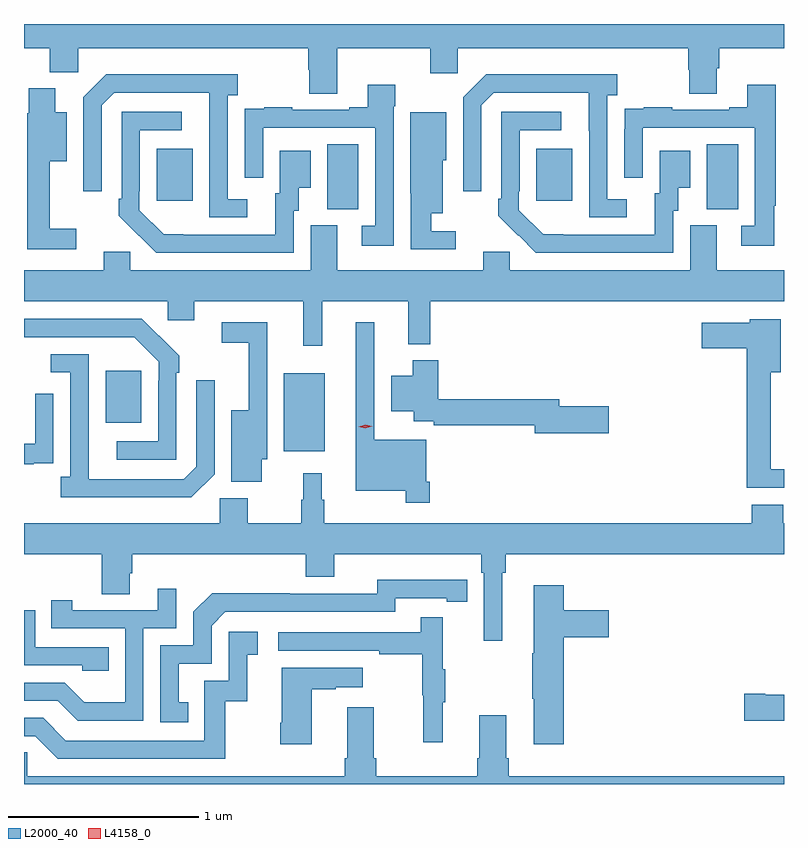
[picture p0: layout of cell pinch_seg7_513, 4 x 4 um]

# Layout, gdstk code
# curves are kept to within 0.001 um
import gdstk
lib = gdstk.Library(unit=1e-6, precision=1e-09)
def R(c, l, rs):  # rectangles x0, y0, x1, y1
    for r in rs: c.add(gdstk.rectangle(r[:2], r[2:], *l))
def P(c, l, *ps):  # polygons
    for p in ps: c.add(gdstk.Polygon(p, *l))
L2000_40 = (2000, 40)
L4158_0 = (4158, 0)

pinch_seg7_513 = lib.new_cell('pinch_seg7_513')
R(pinch_seg7_513, L2000_40, [(158.03,1063.763,158.245,1064.173), (157.091,1063.913,157.279,1064.188), (158.258,1065.037,158.422,1065.38), (160.256,1065.037,160.42,1065.38), (157.361,1065.081,157.549,1065.355), (159.359,1065.081,159.547,1065.355)])
P(pinch_seg7_513, L2000_40, [(158.311,1065.884),(158.8,1065.884),(158.8,1065.753),(158.946,1065.753),(158.946,1065.884),(160.157,1065.884),(160.157,1065.771),(160.162,1065.771),(160.162,1065.646),(160.309,1065.646),(160.309,1065.778),(160.322,1065.778),(160.322,1065.884),(160.662,1065.884),(160.662,1066.012),(156.662,1066.012),(156.662,1065.884),(156.797,1065.884),(156.797,1065.758),(156.948,1065.758),(156.948,1065.884),(158.159,1065.884),(158.159,1065.771),(158.164,1065.771),(158.164,1065.646),(158.311,1065.646)],
  [(159.835,1065.09),(159.732,1065.09),(159.732,1065.638),(159.784,1065.638),(159.784,1065.748),(159.094,1065.748),(158.973,1065.627),(158.973,1065.132),(159.069,1065.132),(159.069,1065.585),(159.135,1065.651),(159.635,1065.651),(159.636,1064.994),(159.835,1064.994)],
  [(157.837,1065.09),(157.734,1065.09),(157.734,1065.638),(157.786,1065.638),(157.786,1065.748),(157.096,1065.748),(156.975,1065.627),(156.975,1065.132),(157.071,1065.132),(157.071,1065.585),(157.137,1065.651),(157.637,1065.651),(157.638,1064.994),(157.837,1064.994)],
  [(160.61,1065.056),(160.618,1065.056),(160.618,1065.691),(160.469,1065.691),(160.469,1065.574),(160.373,1065.574),(160.373,1065.561),(160.073,1065.561),(160.073,1065.574),(159.925,1065.574),(159.925,1065.567),(159.823,1065.567),(159.823,1065.458),(159.822,1065.458),(159.822,1065.204),(159.918,1065.204),(159.918,1065.465),(160.509,1065.465),(160.509,1064.949),(160.437,1064.949),(160.437,1064.844),(160.61,1064.844)],
  [(158.607,1065.578),(158.616,1065.578),(158.616,1065.691),(158.471,1065.691),(158.471,1065.574),(158.375,1065.574),(158.375,1065.561),(158.075,1065.561),(158.075,1065.574),(157.927,1065.574),(157.927,1065.567),(157.825,1065.567),(157.825,1065.458),(157.824,1065.458),(157.824,1065.204),(157.92,1065.204),(157.92,1065.465),(158.511,1065.465),(158.511,1064.949),(158.439,1064.949),(158.439,1064.844),(158.607,1064.844)],
  [(156.937,1064.935),(156.797,1064.935),(156.797,1065.29),(156.886,1065.29),(156.886,1065.547),(156.826,1065.547),(156.826,1065.673),(156.686,1065.673),(156.686,1065.543),(156.679,1065.543),(156.679,1064.826),(156.937,1064.826)],
  [(158.082,1065.03),(158.107,1065.03),(158.107,1065.149),(158.17,1065.149),(158.17,1065.346),(158.009,1065.346),(158.009,1065.12),(157.985,1065.12),(157.985,1064.904),(157.398,1064.905),(157.269,1065.033),(157.269,1065.133),(157.272,1065.133),(157.272,1065.453),(157.492,1065.453),(157.492,1065.549),(157.176,1065.549),(157.176,1065.091),(157.161,1065.091),(157.161,1065.003),(157.358,1064.808),(158.082,1064.808)],
  [(160.08,1065.03),(160.105,1065.03),(160.105,1065.149),(160.168,1065.149),(160.168,1065.346),(160.007,1065.346),(160.007,1065.12),(159.983,1065.12),(159.983,1064.904),(159.396,1064.905),(159.267,1065.033),(159.267,1065.133),(159.27,1065.133),(159.27,1065.453),(159.49,1065.453),(159.49,1065.549),(159.174,1065.549),(159.174,1065.091),(159.159,1065.091),(159.159,1065.003),(159.356,1064.808),(160.08,1064.808)],
  [(158.935,1064.922),(158.806,1064.922),(158.806,1065.017),(158.866,1065.017),(158.866,1065.294),(158.884,1065.294),(158.884,1065.547),(158.696,1065.547),(158.696,1065.121),(158.697,1065.121),(158.697,1064.826),(158.935,1064.826)],
  [(158.231,1064.552),(158.684,1064.552),(158.684,1064.327),(158.801,1064.327),(158.801,1064.552),(160.662,1064.552),(160.662,1064.716),(160.309,1064.716),(160.309,1064.952),(160.169,1064.952),(160.169,1064.716),(159.219,1064.716),(159.219,1064.814),(159.08,1064.814),(159.08,1064.716),(158.311,1064.716),(158.311,1064.952),(158.171,1064.952),(158.171,1064.716),(157.221,1064.716),(157.221,1064.814),(157.082,1064.814),(157.082,1064.716),(156.662,1064.716),(156.662,1064.552),(157.419,1064.552),(157.419,1064.454),(157.558,1064.454),(157.558,1064.552),(158.132,1064.552),(158.132,1064.319),(158.231,1064.319)],
  [(157.464,1064.177),(157.479,1064.177),(157.479,1064.265),(157.282,1064.46),(156.662,1064.46),(156.662,1064.364),(157.243,1064.364),(157.371,1064.235),(157.371,1064.135),(157.368,1064.135),(157.368,1063.815),(157.149,1063.815),(157.149,1063.719),(157.464,1063.719)],
  [(160.662,1063.668),(160.591,1063.668),(160.591,1064.18),(160.645,1064.18),(160.645,1064.458),(160.482,1064.458),(160.482,1064.44),(160.23,1064.44),(160.23,1064.306),(160.466,1064.306),(160.466,1063.571),(160.662,1063.571)],
  [(158.798,1063.603),(158.778,1063.603),(158.778,1063.825),(158.505,1063.825),(158.505,1064.443),(158.408,1064.443),(158.408,1063.556),(158.67,1063.556),(158.67,1063.491),(158.798,1063.491)],
  [(157.912,1063.721),(157.941,1063.721),(157.941,1064.442),(157.704,1064.442),(157.704,1064.334),(157.844,1064.334),(157.844,1063.978),(157.754,1063.978),(157.754,1063.602),(157.912,1063.602)],
  [(157.665,1063.643),(157.665,1064.137),(157.569,1064.137),(157.569,1063.683),(157.503,1063.617),(157.003,1063.617),(157.002,1064.274),(156.804,1064.274),(156.804,1064.178),(156.906,1064.178),(156.906,1063.63),(156.855,1063.63),(156.855,1063.52),(157.542,1063.52)],
  [(159.739,1064),(159.478,1064),(159.478,1064.036),(158.843,1064.036),(158.843,1064.242),(158.708,1064.242),(158.708,1064.161),(158.594,1064.161),(158.594,1063.973),(158.714,1063.973),(158.714,1063.92),(158.818,1063.92),(158.818,1063.9),(159.35,1063.9),(159.35,1063.858),(159.739,1063.858)],
  [(156.713,1063.701),(156.815,1063.701),(156.815,1063.81),(156.816,1063.81),(156.816,1064.065),(156.72,1064.065),(156.72,1063.803),(156.662,1063.803),(156.662,1063.695),(156.713,1063.695)],
  [(159.178,1063.124),(159.197,1063.124),(159.197,1063.22),(160.662,1063.22),(160.662,1063.384),(160.658,1063.384),(160.658,1063.483),(160.493,1063.483),(160.493,1063.384),(158.242,1063.384),(158.242,1063.508),(158.23,1063.508),(158.23,1063.648),(158.131,1063.648),(158.131,1063.508),(158.121,1063.508),(158.121,1063.384),(157.839,1063.384),(157.839,1063.516),(157.692,1063.516),(157.692,1063.384),(156.662,1063.384),(156.662,1063.22),(157.072,1063.22),(157.072,1063.012),(157.219,1063.012),(157.219,1063.122),(157.232,1063.122),(157.232,1063.22),(158.144,1063.22),(158.144,1063.103),(158.296,1063.103),(158.296,1063.22),(159.068,1063.22),(159.068,1063.124),(159.081,1063.124),(159.081,1062.765),(159.178,1062.765)],
  [(157.526,1062.441),(157.477,1062.441),(157.477,1062.645),(157.65,1062.645),(157.65,1062.846),(157.722,1062.918),(158.616,1062.918),(158.616,1062.99),(158.888,1062.99),(158.888,1062.97),(158.996,1062.97),(158.996,1063.086),(158.52,1063.087),(158.52,1063.014),(158.06,1063.014),(158.06,1063.016),(157.652,1063.016),(157.554,1062.918),(157.554,1062.741),(157.38,1062.741),(157.38,1062.336),(157.526,1062.336)],
  [(159.503,1062.785),(159.739,1062.785),(159.739,1062.927),(159.503,1062.927),(159.503,1063.057),(159.344,1063.057),(159.344,1062.701),(159.337,1062.701),(159.337,1062.46),(159.344,1062.46),(159.344,1062.222),(159.503,1062.222)],
  [(157.29,1062.831),(157.464,1062.831),(157.464,1063.039),(157.367,1063.039),(157.367,1062.927),(156.916,1062.927),(156.916,1062.979),(156.805,1062.979),(156.805,1062.831),(157.194,1062.831),(157.194,1062.442),(156.98,1062.442),(156.876,1062.546),(156.662,1062.546),(156.662,1062.45),(156.839,1062.45),(156.944,1062.345),(157.29,1062.345)],
  [(157.109,1062.732),(156.72,1062.732),(156.72,1062.927),(156.662,1062.927),(156.662,1062.636),(156.969,1062.636),(156.969,1062.609),(157.109,1062.609)],
  [(158.867,1062.443),(158.878,1062.443),(158.878,1062.617),(158.867,1062.617),(158.867,1062.889),(158.749,1062.889),(158.749,1062.81),(158.001,1062.81),(158.001,1062.714),(158.533,1062.714),(158.533,1062.694),(158.757,1062.694),(158.757,1062.48),(158.764,1062.48),(158.764,1062.231),(158.867,1062.231)],
  [(157.72,1062.447),(157.838,1062.447),(157.838,1062.693),(157.891,1062.693),(157.891,1062.814),(157.74,1062.814),(157.74,1062.555),(157.611,1062.555),(157.611,1062.24),(156.882,1062.24),(156.762,1062.36),(156.662,1062.36),(156.662,1062.264),(156.72,1062.264),(156.84,1062.144),(157.72,1062.144)],
  [(158.176,1062.511),(158.303,1062.511),(158.303,1062.521),(158.446,1062.521),(158.446,1062.625),(158.018,1062.625),(158.018,1062.334),(158.011,1062.334),(158.011,1062.222),(158.176,1062.222)],
  [(160.662,1062.483),(160.564,1062.483),(160.564,1062.488),(160.452,1062.488),(160.452,1062.346),(160.662,1062.346)],
  [(160.662,1062.052),(159.212,1062.052),(159.212,1062.148),(159.199,1062.148),(159.199,1062.373),(159.059,1062.373),(159.059,1062.148),(159.047,1062.148),(159.047,1062.052),(158.516,1062.052),(158.516,1062.148),(158.503,1062.148),(158.503,1062.415),(158.363,1062.415),(158.363,1062.148),(158.351,1062.148),(158.351,1062.052),(156.678,1062.052),(156.678,1062.179),(156.662,1062.179),(156.662,1062.012),(160.662,1062.012)])
P(pinch_seg7_513, L4158_0, [(158.459,1063.884),(158.423,1063.892),(158.422,1063.892),(158.423,1063.892),(158.458,1063.903),(158.494,1063.895),(158.494,1063.895),(158.494,1063.895)])

lib.write_gds('pinch_seg7_513.gds')
